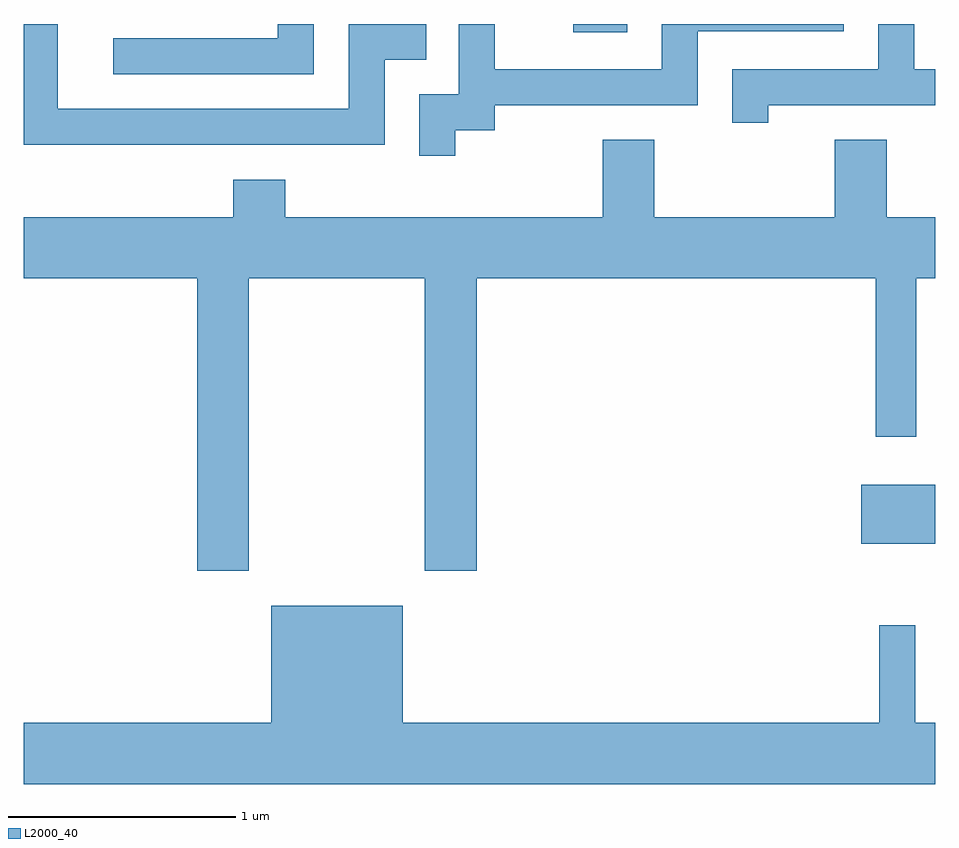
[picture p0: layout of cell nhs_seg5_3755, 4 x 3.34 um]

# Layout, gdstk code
import gdstk
lib = gdstk.Library(unit=1e-6, precision=1e-09)
def R(c, l, rs):  # rectangles x0, y0, x1, y1
    for r in rs: c.add(gdstk.rectangle(r[:2], r[2:], *l))
def P(c, l, *ps):  # polygons
    for p in ps: c.add(gdstk.Polygon(p, *l))
L2000_40 = (2000, 40)

nhs_seg5_3755 = lib.new_cell('nhs_seg5_3755')
R(nhs_seg5_3755, L2000_40, [(299.286,1517.791,299.611,1518.049), (298.023,1520.036,298.259,1520.072)])
P(nhs_seg5_3755, L2000_40, [(298.879,1519.716),(299.611,1519.716),(299.611,1519.874),(299.519,1519.874),(299.519,1520.072),(299.361,1520.072),(299.361,1519.874),(298.721,1519.874),(298.721,1519.638),(298.879,1519.638)],
  [(296.884,1520.072),(296.726,1520.072),(296.726,1520.009),(296.003,1520.009),(296.003,1519.851),(296.884,1519.851)],
  [(297.194,1519.916),(297.378,1519.916),(297.378,1520.072),(297.036,1520.072),(297.036,1519.699),(295.759,1519.699),(295.759,1520.072),(295.611,1520.072),(295.611,1519.541),(297.194,1519.541)],
  [(297.504,1519.606),(297.679,1519.606),(297.679,1519.716),(298.569,1519.716),(298.569,1520.041),(299.209,1520.041),(299.209,1520.072),(298.411,1520.072),(298.411,1519.874),(297.679,1519.874),(297.679,1520.072),(297.521,1520.072),(297.521,1519.764),(297.346,1519.764),(297.346,1519.493),(297.504,1519.493)],
  [(296.599,1518.956),(297.371,1518.956),(297.371,1517.671),(297.599,1517.671),(297.599,1518.956),(299.351,1518.956),(299.351,1518.261),(299.529,1518.261),(299.529,1518.956),(299.611,1518.956),(299.611,1519.224),(299.399,1519.224),(299.399,1519.564),(299.171,1519.564),(299.171,1519.224),(298.379,1519.224),(298.379,1519.564),(298.151,1519.564),(298.151,1519.224),(296.759,1519.224),(296.759,1519.389),(296.531,1519.389),(296.531,1519.224),(295.611,1519.224),(295.611,1518.956),(296.371,1518.956),(296.371,1517.671),(296.599,1517.671)],
  [(299.611,1517.004),(299.524,1517.004),(299.524,1517.433),(299.366,1517.433),(299.366,1517.004),(297.274,1517.004),(297.274,1517.519),(296.696,1517.519),(296.696,1517.004),(295.611,1517.004),(295.611,1516.736),(299.611,1516.736)])

lib.write_gds('nhs_seg5_3755.gds')
